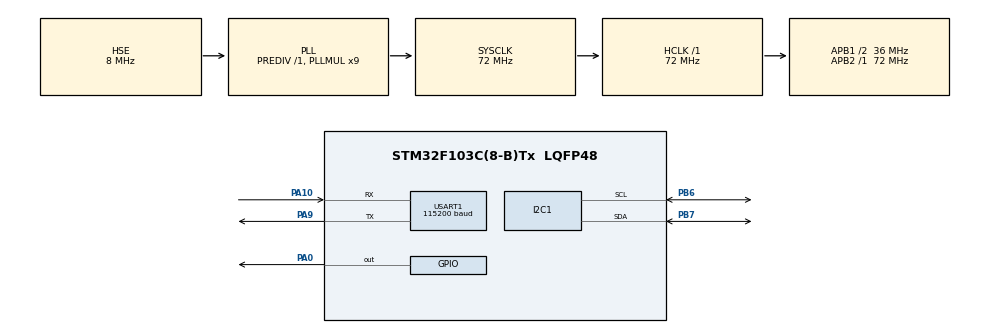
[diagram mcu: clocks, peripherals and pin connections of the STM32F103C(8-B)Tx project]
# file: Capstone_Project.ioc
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Dma.Request0=USART1_RX
Dma.USART1_RX.0.Direction=DMA_PERIPH_TO_MEMORY
Dma.USART1_RX.0.Instance=DMA1_Channel5
Dma.USART1_RX.0.MemDataAlignment=DMA_MDATAALIGN_BYTE
Dma.USART1_RX.0.MemInc=DMA_MINC_ENABLE
Dma.USART1_RX.0.Mode=DMA_NORMAL
Dma.USART1_RX.0.PeriphDataAlignment=DMA_PDATAALIGN_BYTE
Dma.USART1_RX.0.PeriphInc=DMA_PINC_DISABLE
Dma.USART1_RX.0.Priority=DMA_PRIORITY_LOW
FREERTOS.Tasks01=UART_Task,24,128,UART_Task_Init,Default,NULL,Dynamic,NULL,NULL;Robot_Task,24,128,Robot_Task_Init,Default,NULL,Dynamic,NULL,NULL
FREERTOS.configUSE_NEWLIB_REENTRANT=1
Mcu.Family=STM32F1
Mcu.Name=STM32F103C(8-B)Tx
Mcu.Package=LQFP48
NVIC.DMA1_Channel5_IRQn=true\:5\:0\:false\:false\:true\:true\:false\:true\:true
NVIC.PriorityGroup=NVIC_PRIORITYGROUP_4
NVIC.TIM3_IRQn=true\:15\:0\:false\:false\:true\:false\:false\:true\:true
NVIC.TimeBase=TIM3_IRQn
NVIC.TimeBaseIP=TIM3
PA0-WKUP.PinState=GPIO_PIN_SET
PA0-WKUP.Signal=GPIO_Output
PA10.Mode=Asynchronous
PA10.Signal=USART1_RX
PA13.Mode=Serial_Wire
PA13.Signal=SYS_JTMS-SWDIO
PA14.Mode=Serial_Wire
PA14.Signal=SYS_JTCK-SWCLK
PA9.Mode=Asynchronous
PA9.Signal=USART1_TX
PB6.Mode=I2C
PB6.Signal=I2C1_SCL
PB7.Mode=I2C
PB7.Signal=I2C1_SDA
PD0-OSC_IN.Mode=HSE-External-Oscillator
PD0-OSC_IN.Signal=RCC_OSC_IN
PD1-OSC_OUT.Mode=HSE-External-Oscillator
PD1-OSC_OUT.Signal=RCC_OSC_OUT
ProjectManager.HeapSize=0x200
ProjectManager.StackSize=0x400
ProjectManager.TargetToolchain=STM32CubeIDE
RCC.AHBFreq_Value=72000000
RCC.APB1CLKDivider=RCC_HCLK_DIV2
RCC.APB1Freq_Value=36000000
RCC.APB1TimFreq_Value=72000000
RCC.APB2Freq_Value=72000000
RCC.APB2TimFreq_Value=72000000
RCC.HCLKFreq_Value=72000000
RCC.PLLMUL=RCC_PLL_MUL9
RCC.PLLSourceVirtual=RCC_PLLSOURCE_HSE
RCC.SYSCLKFreq_VALUE=72000000
RCC.SYSCLKSource=RCC_SYSCLKSOURCE_PLLCLK
RCC.USBFreq_Value=72000000
TIM2.Period=19999
TIM2.Prescaler=71
USART1.BaudRate=115200
USART1.VirtualMode=VM_ASYNC
VP_FREERTOS_VS_CMSIS_V2.Mode=CMSIS_V2
VP_SYS_VS_tim3.Mode=TIM3
VP_TIM2_VS_ClockSourceINT.Mode=Internal
board=custom

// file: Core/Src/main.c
/* USER CODE BEGIN Header */
/**
  ******************************************************************************
  * @file           : main.c
  * @brief          : Main program body
  ******************************************************************************
  * @attention
  *
  * Copyright (c) 2024 STMicroelectronics.
  * All rights reserved.
  *
  * This software is licensed under terms that can be found in the LICENSE file
  * in the root directory of this software component.
  * If no LICENSE file comes with this software, it is provided AS-IS.
  *
  ******************************************************************************
  */
/* USER CODE END Header */
#include "main.h"
#include "cmsis_os.h"
#include <stdint.h>
#include <stdio.h>
#include <inverse_kinematics.h>
#include <LSPB.h>
#include <pid.h>
#include <pca9685.h>
#include <math.h>
#include <string.h>

#define PWM_FREQUENCY 50
#define MAX_RESOLUTION 4095
#define MIN_PULSE_WIDTH 102.375f   // 1ms
#define MAX_PULSE_WIDTH 511.875f   // 2ms
#define PWM_PERIOD_MS 20.0f    // 20ms
#define DT 0.2
#define PI 3.14159265358979323846
#define BUFFER_SIZE 11

uint8_t rxBuffer[BUFFER_SIZE + 5]; // Receive_buffer
uint8_t frame[BUFFER_SIZE]; // Buffer chứa frame hợp lệ
uint8_t frameIndex = 0; // Chỉ số hiện tại trong frame
uint8_t frameReceived = 0; // Cờ nhận frame hoàn chỉnh

int active = 0; // State of robot
int position_received = 0; // Receive_state
float desired_position[3] = {3.7, 17.7, 2.7};

// Khai báo các handle semaphore và message queue
osSemaphoreId_t positionSemaphoreHandle;
osMessageQueueId_t uartQueueHandle;

// Khai báo các thuộc tính của semaphore và message queue
const osSemaphoreAttr_t positionSemaphore_attributes = {
    .name = "positionSemaphore"
};

const osMessageQueueAttr_t uartQueue_attributes = {
    .name = "uartQueue"
};

I2C_HandleTypeDef hi2c1;

TIM_HandleTypeDef htim2;

UART_HandleTypeDef huart1;
DMA_HandleTypeDef hdma_usart1_rx;

/* Definitions for UART_Task */
osThreadId_t UART_TaskHandle;
const osThreadAttr_t UART_Task_attributes = {
  .name = "UART_Task",
  .stack_size = 128 * 4,
  .priority = (osPriority_t) osPriorityNormal,
};
/* Definitions for Robot_Task */
osThreadId_t Robot_TaskHandle;
const osThreadAttr_t Robot_Task_attributes = {
  .name = "Robot_Task",
  .stack_size = 256 * 4,
  .priority = (osPriority_t) osPriorityNormal,
};

void SystemClock_Config(void);
static void MX_GPIO_Init(void);
static void MX_DMA_Init(void);
static void MX_I2C1_Init(void);
static void MX_TIM2_Init(void);
static void MX_USART1_UART_Init(void);
void UART_Task_Init(void *argument);
void Robot_Task_Init(void *argument);

/* USER CODE BEGIN 0 */

float rad2deg(float radian) {
    return radian * (180.0f / PI);
}

void convertThetaArrayToDegrees(float arr[5])
{
    for (int b = 0; b < 5; b++)
    {
        arr[b] = rad2deg(arr[b]);
    }
}

float angleToPWM(float angle)
{
    float pwm_value = MIN_PULSE_WIDTH + (angle * (MAX_PULSE_WIDTH - MIN_PULSE_WIDTH)) / 180.0f;
    return pwm_value;
}

float PWMToAngle(int pwm_value)
{
    float angle = (pwm_value - MIN_PULSE_WIDTH) * 180.0f / (MAX_PULSE_WIDTH - MIN_PULSE_WIDTH);
    return angle;
}

void control(float *current_angles, float *target_angles, float *vmax, PID_Controller pid, LSPB_Params *lspb, float Kp, float Ki, float Kd, float dt)
{
	float angles[5];
    // 2. Khởi tạo quỹ đạo LSPB cho từng khớp
    for (int i = 0; i < 5; i++)
    {
        LSPB_Init(&lspb[i], current_angles[i], target_angles[i], vmax[i], 2 * vmax[i], 2.0f);
        current_angles[i] = angleToPWM(current_angles[i]);
    }
//	for (float t = 0; t <= lspb[0].t_total + 1; t += DT)
//	{
//		//3. LSPB để hoạch định quỹ đạo cho từng khớp tại th�?i điểm t
//        float target_angle = LSPB_CalculatePosition(&lspb[3], t);
//        // 4. Chuyển đổi góc đích sang xung PWM
//        target_angle = angleToPWM(target_angle);
//
//        PID_Init(&pid, Kp, Ki, Kd, target_angle, dt);
//
//        // Vòng lặp đi�?u khiển servo để đạt tới góc mục tiêu bằng PID
//        while (fabs(current_angles[3] - target_angle) > 0.1)
//        {
//            // 5. Tính toán PID để cập nhật xung PWM cho servo
//            current_angles[3] += PID_Compute(&pid, current_angles[3]) * dt;
//            // Chuyển đổi từ PWM sang góc
//            angles[3] = PWMToAngle(current_angles[3]);
//			PCA9685_SetServoAngle(6, angles[3]);
//        }
//        osDelay((int)(DT * 10)); // Delay theo mili giây
//	}
	for (int i = 3; i < 5; i++)
	{
		for (float t = 0; t <= lspb[0].t_total + 1; t += DT)
		{
			//3. LSPB để hoạch định quỹ đạo cho từng khớp tại th�?i điểm t
			float target_angle = LSPB_CalculatePosition(&lspb[i], t);
			// 4. Chuyển đổi góc đích sang xung PWM
			target_angle = angleToPWM(target_angle);

			PID_Init(&pid, Kp, Ki, Kd, target_angle, dt);

			// Vòng lặp đi�?u khiển servo để đạt tới góc mục tiêu bằng PID
			while (fabs(current_angles[i] - target_angle) > 0.1)
			{
				// 5. Tính toán PID để cập nhật xung PWM cho servo
				current_angles[i] += PID_Compute(&pid, current_angles[i]) * dt;

				// Chuyển đổi từ PWM sang góc
				angles[i] = PWMToAngle(current_angles[i]);
				if(i == 1)
				{
					PCA9685_SetServoAngle_1(2 * i, angles[i]);
				}
				else
				{
					PCA9685_SetServoAngle(2 * i, angles[i]);
				}
			}
			osDelay((int)(DT * 10)); // Delay theo mili giây
		}
	}
	for (int i = 0; i < 3; i++)
	{
		for (float t = 0; t <= lspb[0].t_total + 1; t += DT)
		{
			//3. LSPB để hoạch định quỹ đạo cho từng khớp tại th�?i điểm t
			float target_angle = LSPB_CalculatePosition(&lspb[i], t);
			// 4. Chuyển đổi góc đích sang xung PWM
			target_angle = angleToPWM(target_angle);

			PID_Init(&pid, Kp, Ki, Kd, target_angle, dt);

			// Vòng lặp đi�?u khiển servo để đạt tới góc mục tiêu bằng PID
			while (fabs(current_angles[i] - target_angle) > 0.1)
			{
				// 5. Tính toán PID để cập nhật xung PWM cho servo
				current_angles[i] += PID_Compute(&pid, current_angles[i]) * dt;

				// Chuyển đổi từ PWM sang góc
				angles[i] = PWMToAngle(current_angles[i]);
				if(i == 1)
				{
					PCA9685_SetServoAngle_1(2 * i, angles[i]);
				}
				else
				{
					PCA9685_SetServoAngle(2 * i, angles[i]);
				}
			}
			osDelay((int)(DT * 10)); // Delay theo mili giây
		}
	}

	active = 0;
}

void control_back(float *current_angles, float *target_angles, float *vmax, PID_Controller pid, LSPB_Params *lspb, float Kp, float Ki, float Kd, float dt)
{
	float angles[5];
    // 2. Khởi tạo quỹ đạo LSPB cho từng khớp
    for (int i = 0; i < 5; i++)
    {
        LSPB_Init(&lspb[i], current_angles[i], target_angles[i], vmax[i], 2 * vmax[i], 2.0f);
        current_angles[i] = angleToPWM(current_angles[i]);
    }
	for (int i = 2; i >= 0; i--)
	{
		for (float t = 0; t <= lspb[0].t_total + 1; t += DT)
		{
			//3. LSPB để hoạch định quỹ đạo cho từng khớp tại th�?i điểm t
			float target_angle = LSPB_CalculatePosition(&lspb[i], t);
			// 4. Chuyển đổi góc đích sang xung PWM
			target_angle = angleToPWM(target_angle);

			PID_Init(&pid, Kp, Ki, Kd, target_angle, dt);

			// Vòng lặp đi�?u khiển servo để đạt tới góc mục tiêu bằng PID
			while (fabs(current_angles[i] - target_angle) > 0.1)
			{
				// 5. Tính toán PID để cập nhật xung PWM cho servo
				current_angles[i] += PID_Compute(&pid, current_angles[i]) * dt;

				// Chuyển đổi từ PWM sang góc
				angles[i] = PWMToAngle(current_angles[i]);
				if(i == 1)
				{
					PCA9685_SetServoAngle_1(2 * i, angles[i]);
				}
				else
				{
					PCA9685_SetServoAngle(2 * i, angles[i]);
				}
			}
			osDelay((int)(DT * 10)); // Delay theo mili giây
		}
	}
	for (int i = 4; i >= 3; i--)
	{
		for (float t = 0; t <= lspb[0].t_total + 1; t += DT)
		{
			//3. LSPB để hoạch định quỹ đạo cho từng khớp tại th�?i điểm t
			float target_angle = LSPB_CalculatePosition(&lspb[i], t);
			// 4. Chuyển đổi góc đích sang xung PWM
			target_angle = angleToPWM(target_angle);

			PID_Init(&pid, Kp, Ki, Kd, target_angle, dt);

			// Vòng lặp đi�?u khiển servo để đạt tới góc mục tiêu bằng PID
			while (fabs(current_angles[i] - target_angle) > 0.1)
			{
				// 5. Tính toán PID để cập nhật xung PWM cho servo
				current_angles[i] += PID_Compute(&pid, current_angles[i]) * dt;

				// Chuyển đổi từ PWM sang góc
				angles[i] = PWMToAngle(current_angles[i]);
				if(i == 1)
				{
					PCA9685_SetServoAngle_1(2 * i, angles[i]);
				}
				else
				{
					PCA9685_SetServoAngle(2 * i, angles[i]);
				}
			}
			osDelay((int)(DT * 10)); // Delay theo mili giây
		}
	}
//	for (float t = 0; t <= lspb[0].t_total + 1; t += DT)
//	{
//		//3. LSPB để hoạch định quỹ đạo cho từng khớp tại th�?i điểm t
//        float target_angle = LSPB_CalculatePosition(&lspb[3], t);
//        // 4. Chuyển đổi góc đích sang xung PWM
//        target_angle = angleToPWM(target_angle);
//
//        PID_Init(&pid, Kp, Ki, Kd, target_angle, dt);
//
//        // Vòng lặp đi�?u khiển servo để đạt tới góc mục tiêu bằng PID
//        while (fabs(current_angles[3] - target_angle) > 0.1)
//        {
//            // 5. Tính toán PID để cập nhật xung PWM cho servo
//            current_angles[3] += PID_Compute(&pid, current_angles[3]) * dt;
//            // Chuyển đổi từ PWM sang góc
//            angles[3] = PWMToAngle(current_angles[3]);
//			PCA9685_SetServoAngle(6, angles[3]);
//        }
//        osDelay((int)(DT * 10)); // Delay theo mili giây
//	}

	active = 0;
}

void calculate_vmax(float *current_angles, float *target_angles, float *vmax)
{
	for (int i = 0; i < 5; i++)
	{
//		vmax[i] = fabs(target_angles[i] - current_angles[i]) / 1.0;
		vmax[i] = 2.0 * fabs(target_angles[i] - current_angles[i]) / 3.0;
	}
}

void swap_bytes(uint8_t *input, uint8_t *result, int end)
{
	for (int cnt = 0; cnt < sizeof(result); cnt++)
	{
		result[cnt] = input[end];
		end--;
	}
}

void SendRequest(UART_HandleTypeDef *huart)
{
    uint8_t frame[3];
    frame[0] = 0x02;       // Byte bắt đầu (ví dụ: 0x02 - STX)
    frame[1] = 0x01;       // Byte tín hiệu (cố định là 0x01)
    frame[2] = 0x03;       // Byte kết thúc (ví dụ: 0x03 - ETX)

    HAL_UART_Transmit(huart, frame, sizeof(frame), HAL_MAX_DELAY);
}

//void HAL_UART_RxHalfCpltCallback(UART_HandleTypeDef *huart) {
//    // Callback khi nhận nửa buffer
//    processData();
//}

void HAL_UART_RxCpltCallback(UART_HandleTypeDef *huart1)
{
    if (huart1->Instance == USART1)
    {
        // �?ẩy dữ liệu từ rxBuffer vào hàng đợi
        osMessageQueuePut(uartQueueHandle, rxBuffer, 0, 0);

        // Restart DMA để tiếp tục nhận dữ liệu
        HAL_UART_Receive_DMA(&huart1, rxBuffer, BUFFER_SIZE);
    }
//    // Callback khi nhận hoàn tất buffer
//    processData();
}

void processData()
{
    // Dừng DMA để tránh nhận thêm dữ liệu khi đang xử lý
    HAL_UART_DMAStop(&huart1);
    for (uint8_t i = 0; i < BUFFER_SIZE ; i++)
    {
        uint8_t data = rxBuffer[i];
        if (frameIndex == 0)
        {
            // Kiểm tra header
            if (data == 01)
            {
                frame[frameIndex++] = data; // Lưu header
            }
        }
        else
        {
            frame[frameIndex++] = data;
            // Kiểm tra footer
            if (data == 0xff)
            {
                frameReceived = 1; // �?ã nhận frame hoàn chỉnh
                break; // Thoát vòng lặp
            }
            // Nếu nhận đủ dữ liệu (9 bytes) mà không gặp footer
            if (frameIndex >= 11)
            {
                // �?ặt lại chỉ số
                frameIndex = 0; // Reset để nhận frame mới
                break;
            }
        }
    }

    // Nếu frame đã được nhận hoàn chỉnh
    if (frameReceived)
    {
        handleFrame(frame);
        frameIndex = 0; // Reset để nhận frame mới
        frameReceived = 0; // Reset c�?
    }

}

void handleFrame(uint8_t *frame)
{
    // �?�?c t�?a độ x từ frame (byte 1-4)
	float x;
    float y;
    uint8_t temp_1[4];
    uint8_t temp_2[4];

    swap_bytes(frame, temp_2, 8);
    swap_bytes(frame, temp_1, 4);

    // Chuyển đổi 4 byte thành float cho t�?a độ x
    memcpy(&x, &temp_1[0], sizeof(float));

    // Chuyển đổi 4 byte thành float cho t�?a độ y
    memcpy(&y, &temp_2[0], sizeof(float));

    // Tính toán checksum nếu có
    uint8_t checksum = frame[0] ^ frame[1] ^ frame[2] ^ frame[3] ^ frame[4] ^ frame[5] ^
                       frame[6] ^ frame[7] ^ frame[8];

    // Kiểm tra checksum (nếu sử dụng)
    if (checksum == frame[9])
    {
//    	if(x <= 10.0)
//    	{
//        	if(y <= 3.0)
//        	{
//            	desired_position[1] = y + 7.23 + 0.3 + (fabs(x - 6.0)) * 0.1 / 1.0; // error caused by field of view of camera
//            	desired_position[0] = x - 2.9225 - (x - 7.5) * 0.1;
//        	}
//        	else if(y <= 4.4)
//        	{
//            	desired_position[1] = y + 7.22 + 0.3 + (fabs(x - 8.5)) * 0.1 / 1.0; // error caused by field of view of camera
//            	desired_position[0] = x - 3.2725;
//        	}
//        	else if(y <= 5.5)
//        	{
//            	desired_position[1] = y + 6.83 + 1.0 + (fabs(x - 6.0)) * 0.1 / 1.0; // error caused by field of view of camera
//            	desired_position[0] = x - 3.2725;
//        	}
//        	else if(y <= 7.0)
//        	{
//            	desired_position[1] = y + 7.13 + 0.5 + (fabs(x - 6.0)) * 0.1 / 1.0;
//            	desired_position[0] = x - 3.0725 - 0.5;
//        	}
//        	else
//        	{
//            	desired_position[1] = y + 7.83 + (fabs(x - 6.0)) * 0.1 / 1.0;
//            	desired_position[0] = x - 3.32;
//        	}
//    	}
//    	else
//    	{
//        	if(y <= 3.0)
//        	{
//            	desired_position[1] = y + 7.03 - 0.4 + (fabs(x - 6.0)) * 0.1 / 1.0; // error caused by field of view of camera
//            	desired_position[0] = x - 2.9225 + 1.0 - (x - 7.5) * 0.1;
//        	}
//        	else if(y <= 4.4)
//        	{
//            	desired_position[1] = y + 7.22 + (fabs(x - 6.0)) * 0.1 / 1.5; // error caused by field of view of camera
//            	desired_position[0] = x - 3.2725 + 1.0;
//        	}
//        	else if(y <= 5.5)
//        	{
//            	desired_position[1] = y + 6.83 + 0.8 + (fabs(x - 6.0)) * 0.1 / 1.5; // error caused by field of view of camera
//            	desired_position[0] = x - 3.2725 + 1.0;
//        	}
//        	else if(y <= 7.0)
//        	{
//            	desired_position[1] = y + 7.13 + 0.8 + (fabs(x - 6.0)) * 0.1 / 1.5;
//            	desired_position[0] = x - 3.0725 + 1.0 - 0.5;
//        	}
//        	else
//        	{
//            	desired_position[1] = y + 7.83 + 1.5 + (fabs(x - 6.0)) * 0.1 / 1.5;
//            	desired_position[0] = x - 4.32 + 1.0;
//        	}
//    	}
    	if(y >= 6.0)
    	{
        	desired_position[1] = y + 6.0;
        	desired_position[0] = x - 11;
    	}
    	else if(y >= 5.0)
    	{
        	desired_position[1] = y + 6.5;
        	desired_position[0] = x - 11;
    	}
    	else
    	{
        	desired_position[1] = y + 6.7;
        	desired_position[0] = x - 11;
    	}
    	position_received = 1;
    }
}

void drop_object()
{
	PCA9685_SetServoAngle(10, 35);
}

void grasp_object()
{
	PCA9685_SetServoAngle(10, 80);
}

/* USER CODE END 0 */

int main(void)
{

  /* MCU Configuration--------------------------------------------------------*/

  /* Reset of all peripherals, Initializes the Flash interface and the Systick. */
  HAL_Init();

  /* Configure the system clock */
  SystemClock_Config();

  /* Initialize all configured peripherals */
  MX_GPIO_Init();
  MX_DMA_Init();
  MX_I2C1_Init();
  MX_TIM2_Init();
  MX_USART1_UART_Init();
  /* USER CODE BEGIN 2 */
  PCA9685_Init(50); // PCA Initial with frequency 50 Hz
//  HAL_TIM_PWM_Start(&htim2, TIM_CHANNEL_1);
  /* USER CODE END 2 */

  /* Init scheduler */
  osKernelInitialize();

  /* USER CODE BEGIN RTOS_SEMAPHORES */
  /* add semaphores, ... */
  // Tạo semaphore
  positionSemaphoreHandle = osSemaphoreNew(1, 0, &positionSemaphore_attributes);

  // Tạo message queue
  uartQueueHandle = osMessageQueueNew(10, sizeof(uint8_t), &uartQueue_attributes);
  /* USER CODE END RTOS_SEMAPHORES */

  /* Create the thread(s) */
  /* creation of UART_Task */
  UART_TaskHandle = osThreadNew(UART_Task_Init, NULL, &UART_Task_attributes);

  /* creation of Robot_Task */
  Robot_TaskHandle = osThreadNew(Robot_Task_Init, NULL, &Robot_Task_attributes);

  /* Start scheduler */
  osKernelStart();

  /* We should never get here as control is now taken by the scheduler */
  /* Infinite loop */
  /* USER CODE BEGIN WHILE */

//  // Khởi động nhận dữ liệu qua DMA
//  HAL_UART_Receive_DMA(&huart1, rxBuffer, BUFFER_SIZE);
  while (1)
  {
    /* USER CODE END WHILE */

  }
}

void SystemClock_Config(void)
{
  RCC_OscInitTypeDef RCC_OscInitStruct = {0};
  RCC_ClkInitTypeDef RCC_ClkInitStruct = {0};

  /** Initializes the RCC Oscillators according to the specified parameters
  * in the RCC_OscInitTypeDef structure.
  */
  RCC_OscInitStruct.OscillatorType = RCC_OSCILLATORTYPE_HSE;
  RCC_OscInitStruct.HSEState = RCC_HSE_ON;
  RCC_OscInitStruct.HSEPredivValue = RCC_HSE_PREDIV_DIV1;
  RCC_OscInitStruct.HSIState = RCC_HSI_ON;
  RCC_OscInitStruct.PLL.PLLState = RCC_PLL_ON;
  RCC_OscInitStruct.PLL.PLLSource = RCC_PLLSOURCE_HSE;
  RCC_OscInitStruct.PLL.PLLMUL = RCC_PLL_MUL9;
  if (HAL_RCC_OscConfig(&RCC_OscInitStruct) != HAL_OK)
  {
    Error_Handler();
  }

  /** Initializes the CPU, AHB and APB buses clocks
  */
  RCC_ClkInitStruct.ClockType = RCC_CLOCKTYPE_HCLK|RCC_CLOCKTYPE_SYSCLK
                              |RCC_CLOCKTYPE_PCLK1|RCC_CLOCKTYPE_PCLK2;
  RCC_ClkInitStruct.SYSCLKSource = RCC_SYSCLKSOURCE_PLLCLK;
  RCC_ClkInitStruct.AHBCLKDivider = RCC_SYSCLK_DIV1;
  RCC_ClkInitStruct.APB1CLKDivider = RCC_HCLK_DIV2;
  RCC_ClkInitStruct.APB2CLKDivider = RCC_HCLK_DIV1;

  if (HAL_RCC_ClockConfig(&RCC_ClkInitStruct, FLASH_LATENCY_2) != HAL_OK)
  {
    Error_Handler();
  }
}

static void MX_I2C1_Init(void)
{

  hi2c1.Instance = I2C1;
  hi2c1.Init.ClockSpeed = 100000;
  hi2c1.Init.DutyCycle = I2C_DUTYCYCLE_2;
  hi2c1.Init.OwnAddress1 = 0;
  hi2c1.Init.AddressingMode = I2C_ADDRESSINGMODE_7BIT;
  hi2c1.Init.DualAddressMode = I2C_DUALADDRESS_DISABLE;
  hi2c1.Init.OwnAddress2 = 0;
  hi2c1.Init.GeneralCallMode = I2C_GENERALCALL_DISABLE;
  hi2c1.Init.NoStretchMode = I2C_NOSTRETCH_DISABLE;
  if (HAL_I2C_Init(&hi2c1) != HAL_OK)
  {
    Error_Handler();
  }

}

static void MX_TIM2_Init(void)
{

  TIM_ClockConfigTypeDef sClockSourceConfig = {0};
  TIM_MasterConfigTypeDef sMasterConfig = {0};

  htim2.Instance = TIM2;
  htim2.Init.Prescaler = 71;
  htim2.Init.CounterMode = TIM_COUNTERMODE_UP;
  htim2.Init.Period = 19999;
  htim2.Init.ClockDivision = TIM_CLOCKDIVISION_DIV1;
  htim2.Init.AutoReloadPreload = TIM_AUTORELOAD_PRELOAD_DISABLE;
  if (HAL_TIM_Base_Init(&htim2) != HAL_OK)
  {
    Error_Handler();
  }
  sClockSourceConfig.ClockSource = TIM_CLOCKSOURCE_INTERNAL;
  if (HAL_TIM_ConfigClockSource(&htim2, &sClockSourceConfig) != HAL_OK)
  {
    Error_Handler();
  }
  sMasterConfig.MasterOutputTrigger = TIM_TRGO_RESET;
  sMasterConfig.MasterSlaveMode = TIM_MASTERSLAVEMODE_DISABLE;
  if (HAL_TIMEx_MasterConfigSynchronization(&htim2, &sMasterConfig) != HAL_OK)
  {
    Error_Handler();
  }

}

static void MX_USART1_UART_Init(void)
{

  huart1.Instance = USART1;
  huart1.Init.BaudRate = 115200;
  huart1.Init.WordLength = UART_WORDLENGTH_8B;
  huart1.Init.StopBits = UART_STOPBITS_1;
  huart1.Init.Parity = UART_PARITY_NONE;
  huart1.Init.Mode = UART_MODE_TX_RX;
  huart1.Init.HwFlowCtl = UART_HWCONTROL_NONE;
  huart1.Init.OverSampling = UART_OVERSAMPLING_16;
  if (HAL_UART_Init(&huart1) != HAL_OK)
  {
    Error_Handler();
  }

}

static void MX_DMA_Init(void)
{

  /* DMA controller clock enable */
  __HAL_RCC_DMA1_CLK_ENABLE();

  /* DMA interrupt init */
  /* DMA1_Channel5_IRQn interrupt configuration */
  HAL_NVIC_SetPriority(DMA1_Channel5_IRQn, 5, 0);
  HAL_NVIC_EnableIRQ(DMA1_Channel5_IRQn);

}

static void MX_GPIO_Init(void)
{
  GPIO_InitTypeDef GPIO_InitStruct = {0};

  /* GPIO Ports Clock Enable */
  __HAL_RCC_GPIOD_CLK_ENABLE();
  __HAL_RCC_GPIOA_CLK_ENABLE();
  __HAL_RCC_GPIOB_CLK_ENABLE();

  /*Configure GPIO pin Output Level */
  HAL_GPIO_WritePin(GPIOA, GPIO_PIN_0, GPIO_PIN_SET);

  /*Configure GPIO pin : PA0 */
  GPIO_InitStruct.Pin = GPIO_PIN_0;
  GPIO_InitStruct.Mode = GPIO_MODE_OUTPUT_PP;
  GPIO_InitStruct.Pull = GPIO_NOPULL;
  GPIO_InitStruct.Speed = GPIO_SPEED_FREQ_LOW;
  HAL_GPIO_Init(GPIOA, &GPIO_InitStruct);

}

void UART_Task_Init(void *argument)
{
  /* USER CODE BEGIN 5 */
    HAL_UART_Receive_DMA(&huart1, rxBuffer, BUFFER_SIZE);
  /* Infinite loop */
  for(;;)
  {
      if ((osMessageQueueGet(uartQueueHandle, rxBuffer, NULL, osWaitForever) == osOK) && (active == 0)) //Complete receiving data
      {
          processData();
          memset(rxBuffer, 0, BUFFER_SIZE);
          if (position_received)
          {
              osSemaphoreRelease(positionSemaphoreHandle); //Initialize Robot Task
              active = 1;
              HAL_UART_Receive_DMA(&huart1, rxBuffer, BUFFER_SIZE);
          }
      }
      osDelay(10);
  }
  /* USER CODE END 5 */
}

void Robot_Task_Init(void *argument)
{
  /* USER CODE BEGIN Robot_Task_Init */
	  // PID Initial
	  PID_Controller pid;
	  float Kp = 1, Ki = 0.7, Kd = 0;
	  float dt = 0.01;

	  //LSPB parameters declaration
	  LSPB_Params lspb[5];

	  InverseKinematics ik;
	  InverseKinematics_Init(&ik, 14.4, 10.5, 13.0, 7.0, 11.0);  // Define parameters of DH table

  /* Infinite loop */
  for(;;)
  {
	  float target_angles[5];
	  float current_angles[5] = {0.0, 90.0, 90.0, 90.0, 90.0};
	  float temp[5] = {0.0, 90.0, 90.0, 90.0, 90.0};
	  float vmax[5];
	  float px = desired_position[0];
	  float py = desired_position[1];
	  float d = sqrt(px * px + py * py);

      //Wait for signal
      if ((osSemaphoreAcquire(positionSemaphoreHandle, osWaitForever) == osOK) && (position_received == 1))
      {
    	  if((d <= 19.0) && (d >= 10.3))
    	  {
              //Calculate angles respected to desired position
              InverseKinematics_Calculate(&ik, desired_position, target_angles);
              convertThetaArrayToDegrees(target_angles);

              //Calculate max velocity
              calculate_vmax(current_angles, target_angles, vmax);
              drop_object();// Open gripper

              //Move to desired position
              control(current_angles, target_angles, vmax, pid, lspb, Kp, Ki, Kd, dt);
              osDelay(500);
              grasp_object();
              osDelay(500);

              //Move back to home position
              control_back(target_angles, temp, vmax, pid, lspb, Kp, Ki, Kd, dt);
              osDelay(500);
              drop_object();
    	  }

          //Update states
          position_received = 0;
          active = 0;
          SendRequest(&huart1);

      }
      osDelay(1000);
  }
  /* USER CODE END Robot_Task_Init */
}

void HAL_TIM_PeriodElapsedCallback(TIM_HandleTypeDef *htim)
{
  if (htim->Instance == TIM3) {
    HAL_IncTick();
  }
}

void Error_Handler(void)
{
  __disable_irq();
  while (1)
  {
  }
}
